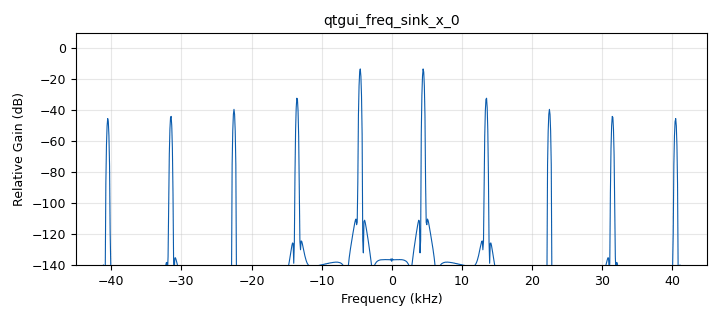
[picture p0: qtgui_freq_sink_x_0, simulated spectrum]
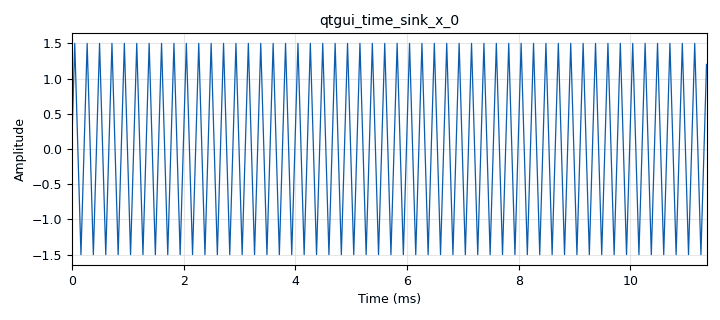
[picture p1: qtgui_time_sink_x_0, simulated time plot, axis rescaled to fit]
options:
  parameters:
    generate_options: qt_gui
    id: Lab_comu_1a
    output_language: python
    title: Primer Flujograma
  states: {}

blocks:
- name: Amplitude
  id: variable_qtgui_range
  parameters:
    start: '0'
    step: '1'
    stop: '5'
    value: '0'
    widget: slider
  states: {state: disabled}
- name: frequency
  id: variable
  parameters:
    value: samp_rate/3
  states: {state: disabled}
- name: frequency
  id: variable_qtgui_range
  parameters:
    start: '-samp_rate/2'
    step: '100'
    stop: samp_rate/2
    value: '0'
  states: {state: disabled}
- name: samp_rate
  id: variable
  parameters:
    value: '90000'
  states: {}
- name: analog_sig_source_x_0
  id: analog_sig_source_x
  parameters:
    amp: '3'
    freq: '4500'
    offset: '-1.5'
    phase: '0'
    samp_rate: samp_rate
    type: float
    waveform: analog.GR_TRI_WAVE
  states: {}
- name: blocks_throttle_0
  id: blocks_throttle
  parameters:
    samples_per_second: samp_rate
    type: float
  states: {}
- name: qtgui_freq_sink_x_0
  id: qtgui_freq_sink_x
  parameters:
    bw: samp_rate
    fc: '0'
    fftsize: '1024'
    type: float
  states: {}
- name: qtgui_time_sink_x_0
  id: qtgui_time_sink_x
  parameters:
    size: '1024'
    srate: samp_rate
    type: float
  states: {}

connections:
- [analog_sig_source_x_0, '0', blocks_throttle_0, '0']
- [blocks_throttle_0, '0', qtgui_freq_sink_x_0, '0']
- [blocks_throttle_0, '0', qtgui_time_sink_x_0, '0']

metadata:
  file_format: 1
  grc_version: 3.9.8.0
